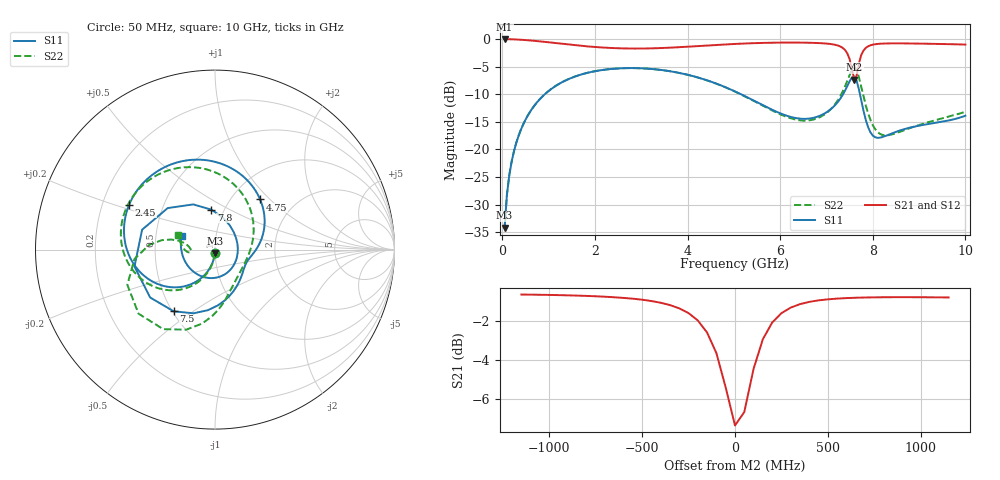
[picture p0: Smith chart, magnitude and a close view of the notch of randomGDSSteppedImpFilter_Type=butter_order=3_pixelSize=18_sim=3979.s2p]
! freq	dB(S11)	phase(S11)	dB(S12)	phase(S12)
!  dB(S21)	phase(S21)	dB(S22)	phase(S22)
!S-par simulation data
#  GHz  S  DB  R 50
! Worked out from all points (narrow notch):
!   200 points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, 50 MHz to 10 GHz, reference 50 ohm
!   highest |S21| = -0.01 dB at 50 MHz (marker M1); lowest = -7.3 dB at 7.6 GHz (marker M2)
!   notch at M2: 6.4 dB deep, 197 MHz wide at half that depth
!   lowest |S11| = -34.2 dB at 50 MHz (marker M3), VSWR 1.04, Z = 49.9 - j1.94 ohm
!   |S11| at or under -10 dB: start of sweep to 919.3 MHz; 5.153 GHz to 7.359 GHz (2.206 GHz wide, 35.3 % of centre); 7.723 GHz to end of sweep
!   |S22| runs from -34.2 to -5.1 dB; largest |S21 - S12| = 0
!   S11 on the Smith chart (normalised r, x): 50 MHz: 1.00, -0.04; 2.45 GHz: 0.32, +0.22; 4.75 GHz: 1.34, +0.88; 7.5 GHz: 0.51, -0.42; 7.8 GHz: 0.87, +0.41; 10 GHz: 0.68, +0.11
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0.05  -34.20 -92.7  -0.01 -2.6  -0.01 -2.6  -34.19 -92.5
0.1  -28.21 -95.6  -0.02 -5.2  -0.02 -5.2  -28.21 -95.1
0.2  -22.29 -101.1  -0.04 -10.3  -0.04 -10.3  -22.28 -100.2
0.5  -14.65 -117.1  -0.19 -25.4  -0.19 -25.4  -14.64 -114.9
1.1  -8.79 -147.2  -0.68 -54.2  -0.68 -54.2  -8.79 -142.3
1.75  -6.32 -177.3  -1.26 -82.6  -1.26 -82.6  -6.31 -169.3
2.45  -5.36 152.3  -1.66 -111.3  -1.66 -111.3  -5.35 164.0
3.4  -5.58 111.0  -1.64 -150.0  -1.64 -150.0  -5.57 128.3
4.1  -6.68 79.0  -1.34 179.9  -1.34 179.9  -6.69 100.7
4.75  -8.50 48.1  -1.01 150.0  -1.01 150.0  -8.52 72.9
5.05  -9.59 33.8  -0.87 135.6  -0.87 135.6  -9.63 59.2
5.9  -13.10 -2.9  -0.65 93.3  -0.65 93.3  -13.25 14.5
6.7  -14.32 -32.6  -0.69 51.4  -0.69 51.4  -14.63 -38.8
7.25  -11.36 -72.5  -1.18 17.6  -1.18 17.6  -11.04 -77.5
7.5  -7.67 -123.8  -3.65 -4.3  -3.65 -4.3  -6.48 -109.8
7.6  -6.77 -168.1  -7.34 5.9  -7.34 5.9  -5.10 -140.0
7.7  -9.10 138.7  -4.45 29.8  -4.45 29.8  -6.90 -173.4
7.8  -13.01 95.3  -2.08 20.8  -2.08 20.8  -10.43 169.9
8  -17.50 27.6  -1.02 2.7  -1.02 2.7  -15.60 169.2
8.35  -17.32 -40.9  -0.79 -20.1  -0.79 -20.1  -17.41 -175.8
9.2  -15.41 -126.9  -0.85 -66.5  -0.85 -66.5  -15.07 177.2
10  -13.89 157.1  -1.00 -109.3  -1.00 -109.3  -13.18 158.9
